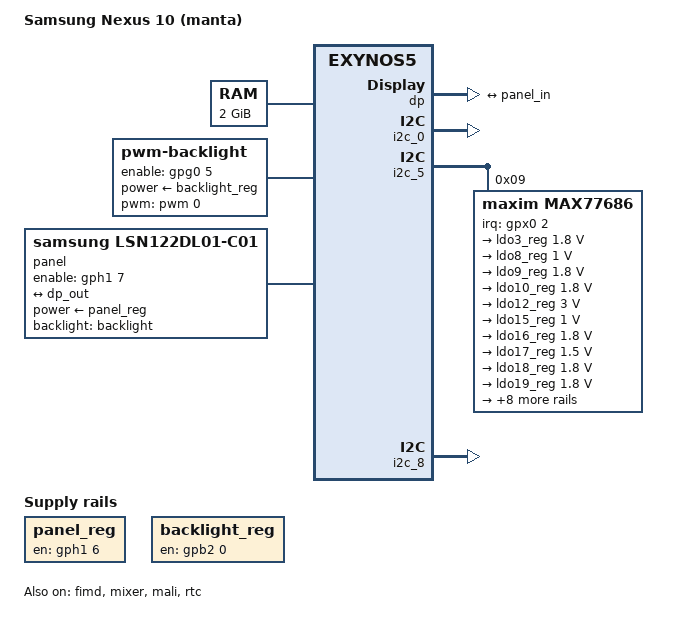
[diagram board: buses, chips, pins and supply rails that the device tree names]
// SPDX-License-Identifier: GPL-2.0
/*
 * Samsung Nexus 10 tree source
 *
 * Copyright (c) 2012 Samsung Electronics Co., Ltd.
 *		http://www.samsung.com
 */

/dts-v1/;
#include <dt-bindings/clock/maxim,max77686.h>
#include <dt-bindings/gpio/gpio.h>
#include <dt-bindings/interrupt-controller/irq.h>
#include "exynos5250.dtsi"

/ {
	model = "Samsung Nexus 10 (manta)";
	compatible = "samsung,nexus10-manta", "samsung,exynos5250", "samsung,exynos5";
	
	aliases {
	};

	memory@40000000 {
		device_type = "memory";
		reg = <0x40000000 0x80000000>;
	};

	chosen {
		bootargs = "earlycon mem=256M";
		/* linux,usable-memory-range = <0x40000000 0x80000000>;*/
	};

	panel_reg: fixed-regulator-panel {
		compatible = "regulator-fixed";
		regulator-name = "APS_IN_18V";
		startup-delay-us = <97000>;
		gpio = <&gph1 6 GPIO_ACTIVE_HIGH>;
		enable-active-high;
	};

	backlight_reg: fixed-regulator-backlight {
		compatible = "regulator-fixed";
		regulator-name = "PWM_IN_18V";
		startup-delay-us = <97000>;
		gpio = <&gpb2 0 GPIO_ACTIVE_HIGH>;
		enable-active-high;
	};

	backlight: backlight {
		compatible = "pwm-backlight";
		pwms = <&pwm 0 1000000 0>;
		brightness-levels = <0 100 500 1000 1500 2000 2500 2800>;
		default-brightness-level = <6>;
		enable-gpios = <&gpg0 5 GPIO_ACTIVE_HIGH>;
		power-supply = <&backlight_reg>;
		pinctrl-0 = <&pwm0_out>;
		pinctrl-names = "default";
	};

	panel: panel {
		compatible = "samsung,lsn122dl01-c01";
		backlight = <&backlight>;
		enable-gpios = <&gph1 7 GPIO_ACTIVE_HIGH>;
		power-supply = <&panel_reg>;
		no-hpd;
		
		panel-timing {
			clock-frequency = <60000>;
			hactive = <2560>;
			vactive = <1600>;
			hfront-porch = <48>;
			hback-porch = <80>;
			hsync-len = <32>;
			vback-porch = <37>;
			vfront-porch = <3>;
			vsync-len = <6>;
		};

		port {
			panel_in: endpoint {
				remote-endpoint = <&dp_out>;
			};
		};
	};
};

&cpu0 {
	cpu0-supply = <&buck2_reg>;
};

&dp {
	status = "okay";
	samsung,color-space = <0>;
	samsung,color-depth = <1>;
	samsung,link-rate = <0x0a>;
	samsung,lane-count = <4>;
	
	ports {
		port {
			dp_out: endpoint {
				remote-endpoint = <&panel_in>;
			};
		};
	};
};

&fimd {
	status = "okay";
};
/*
&hdmi {
	status = "okay";
	ddc = <&i2c_0>;
	hpd-gpios = <&gpx3 7 GPIO_ACTIVE_HIGH>;
	pinctrl-names = "default";
	pinctrl-0 = <&hdmi_hpd>;
	vdd-supply = <&ldo8_reg>;
	vdd_osc-supply = <&ldo10_reg>;
	vdd_pll-supply = <&ldo8_reg>;
};*/

&i2c_0 {
	status = "okay";
	/* used by HDMI DDC */
	samsung,i2c-sda-delay = <100>;
	samsung,i2c-max-bus-freq = <65000>;
};

&i2c_5 {
	status = "okay";
	samsung,i2c-sda-delay = <100>;
	samsung,i2c-max-bus-freq = <65000>;

	max77686: pmic@9 {
		compatible = "maxim,max77686";
		reg = <0x09>;
		interrupt-parent = <&gpx0>;
		interrupts = <2 IRQ_TYPE_LEVEL_LOW>;
		pinctrl-names = "default";
		pinctrl-0 = <&max77686_irq>;
		#clock-cells = <1>;
		wakeup-source;

		voltage-regulators {

			ldo3_reg: LDO3 {
				regulator-name = "VCC_1.8V_AP";
				regulator-min-microvolt = <1800000>;
				regulator-max-microvolt = <1800000>;
				regulator-always-on;
				regulator-boot-on;               
			};

			ldo8_reg: LDO8 {
				regulator-name = "VMIPI_1.0V";
				regulator-min-microvolt = <1000000>;
				regulator-max-microvolt = <1000000>;
				regulator-always-on;
				regulator-boot-on;
			};

			ldo9_reg: LDO9 {
				regulator-name = "TOUCH_VDD_1.8V";
				regulator-min-microvolt = <1800000>;
				regulator-max-microvolt = <1800000>;
			};

			ldo10_reg: LDO10 {
				regulator-name = "VMIPI_1.8V";
				regulator-min-microvolt = <1800000>;
				regulator-max-microvolt = <1800000>;
				regulator-always-on;
				regulator-boot-on;
			};

			ldo12_reg: LDO12 {
				regulator-name = "VUOTG_3.0V";
				regulator-min-microvolt = <3000000>;
				regulator-max-microvolt = <3000000>;
				regulator-always-on;
				regulator-boot-on;
			};

			ldo15_reg: LDO15 {
				regulator-name = "VHSIC_1.0V";
				regulator-min-microvolt = <1000000>;
				regulator-max-microvolt = <1000000>;
				regulator-always-on;
				regulator-boot-on;
			};

			ldo16_reg: LDO16 {
				regulator-name = "VHSIC_1.8V";
				regulator-min-microvolt = <1800000>;
				regulator-max-microvolt = <1800000>;
				regulator-always-on;
				regulator-boot-on;
			};
            
            ldo17_reg: LDO17 {
				regulator-name = "5M_CORE_1.5V";
				regulator-min-microvolt = <1500000>;
				regulator-max-microvolt = <1500000>;
			};
            
            ldo18_reg: LDO18 {
				regulator-name = "CAM_IO_1.8V";
				regulator-min-microvolt = <1800000>;
				regulator-max-microvolt = <1800000>;
			};
            
            ldo19_reg: LDO19 {
				regulator-name = "VT_CAM_1.8V";
				regulator-min-microvolt = <1800000>;
				regulator-max-microvolt = <1800000>;
			};
            
            ldo20_reg: LDO20 {
				regulator-name = "TA_CHECK_1.35V";
				regulator-min-microvolt = <1350000>;
				regulator-max-microvolt = <1350000>;
			};

            ldo23_reg: LDO23 {
				regulator-name = "TSP_AVDD_2.8V";
				regulator-min-microvolt = <2800000>;
				regulator-max-microvolt = <2800000>;
			};
            
            ldo24_reg: LDO24 {
				regulator-name = "CAM_AF_2.8V";
				regulator-min-microvolt = <2800000>;
				regulator-max-microvolt = <2800000>;
			};

            ldo25_reg: LDO25 {
				regulator-name = "VADC_3.3V";
				regulator-min-microvolt = <3300000>;
				regulator-max-microvolt = <3300000>;
				regulator-always-on;
				regulator-boot-on;
			};
            
			buck1_reg: BUCK1 {
				regulator-name = "vdd_mif";
				regulator-min-microvolt = <950000>;
				regulator-max-microvolt = <1300000>;
				regulator-always-on;
				regulator-boot-on;
			};

			buck2_reg: BUCK2 {
				regulator-name = "vdd_arm";
				regulator-min-microvolt = <850000>;
				regulator-max-microvolt = <1350000>;
				regulator-always-on;
				regulator-boot-on;
			};

			buck3_reg: BUCK3 {
				regulator-name = "vdd_int";
				regulator-min-microvolt = <900000>;
				regulator-max-microvolt = <1200000>;
				regulator-always-on;
				regulator-boot-on;
			};

			buck4_reg: BUCK4 {
				regulator-name = "vdd_g3d";
				regulator-min-microvolt = <850000>;
				regulator-max-microvolt = <1300000>;
				regulator-always-on;
				regulator-boot-on;
			};  
		};
	};
};

&i2c_8 {
	status = "okay";
	/* used by HDMI PHY */
	samsung,i2c-sda-delay = <100>;
	samsung,i2c-max-bus-freq = <65000>;
};

/*&i2s0 {
	status = "okay";
};*/

&mixer {
	status = "okay";
};

&mali {
	status = "okay";
	mali-supply = <&buck4_reg>;
};

&rtc {
	status = "okay";
	clocks = <&clock CLK_RTC>, <&max77686 MAX77686_CLK_AP>;
	clock-names = "rtc", "rtc_src";
};

/*&spi_1 {
	status = "okay";
	samsung,spi-src-clk = <0>;
	num-cs = <1>;
	cs-gpios = <&gpa2 5 GPIO_ACTIVE_HIGH>;
};*/

&pinctrl_0 {
	max77686_irq: max77686-irq-pins {
		samsung,pins = "gpx0-2";
		samsung,pin-function = <EXYNOS_PIN_FUNC_F>;
		samsung,pin-pud = <EXYNOS_PIN_PULL_NONE>;
		samsung,pin-drv = <EXYNOS4_PIN_DRV_LV1>;
	};
};
